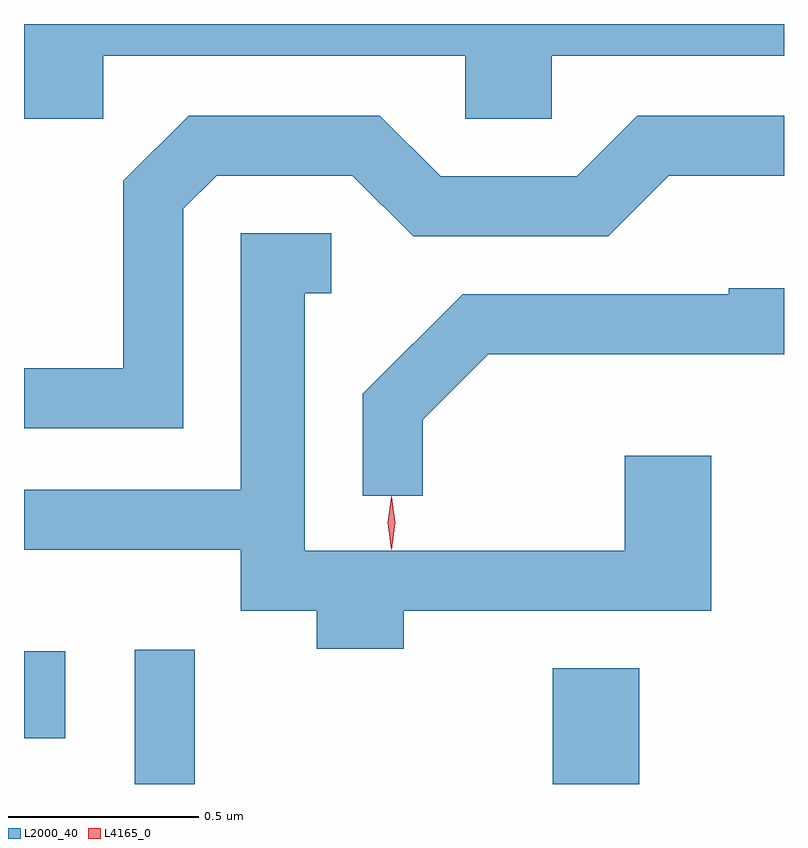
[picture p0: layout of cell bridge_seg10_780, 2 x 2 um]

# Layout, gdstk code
import gdstk
lib = gdstk.Library(unit=1e-6, precision=1e-09)
def R(c, l, rs):  # rectangles x0, y0, x1, y1
    for r in rs: c.add(gdstk.rectangle(r[:2], r[2:], *l))
def P(c, l, *ps):  # polygons
    for p in ps: c.add(gdstk.Polygon(p, *l))
L2000_40 = (2000, 40)
L4165_0 = (4165, 0)

bridge_seg10_780 = lib.new_cell('bridge_seg10_780')
R(bridge_seg10_780, L2000_40, [(517.991,2107.56,518.149,2107.913), (519.091,2107.56,519.319,2107.864), (517.7,2107.681,517.809,2107.909)])
P(bridge_seg10_780, L2000_40, [(517.909,2109.476),(518.861,2109.476),(518.861,2109.311),(519.089,2109.311),(519.089,2109.476),(519.7,2109.476),(519.7,2109.56),(517.7,2109.56),(517.7,2109.311),(517.909,2109.311)],
  [(518.119,2109.074),(518.207,2109.161),(518.564,2109.161),(518.724,2109.001),(519.237,2109.001),(519.397,2109.161),(519.7,2109.161),(519.7,2109.319),(519.314,2109.319),(519.154,2109.159),(518.797,2109.159),(518.636,2109.319),(518.134,2109.319),(517.961,2109.147),(517.961,2108.654),(517.7,2108.654),(517.7,2108.496),(518.119,2108.496)],
  [(518.699,2108.016),(519.509,2108.016),(519.509,2108.424),(519.281,2108.424),(519.281,2108.174),(518.439,2108.174),(518.439,2108.851),(518.508,2108.851),(518.508,2109.009),(518.271,2109.009),(518.271,2108.334),(517.7,2108.334),(517.7,2108.176),(518.271,2108.176),(518.271,2108.016),(518.471,2108.016),(518.471,2107.916),(518.699,2107.916)],
  [(518.749,2108.519),(518.922,2108.691),(519.7,2108.691),(519.7,2108.864),(519.555,2108.864),(519.555,2108.849),(518.854,2108.849),(518.591,2108.587),(518.591,2108.318),(518.749,2108.318)])
P(bridge_seg10_780, L4165_0, [(518.667,2108.177),(518.667,2108.178),(518.657,2108.247),(518.667,2108.316),(518.667,2108.317),(518.668,2108.316),(518.677,2108.247),(518.668,2108.178)])

lib.write_gds('bridge_seg10_780.gds')
